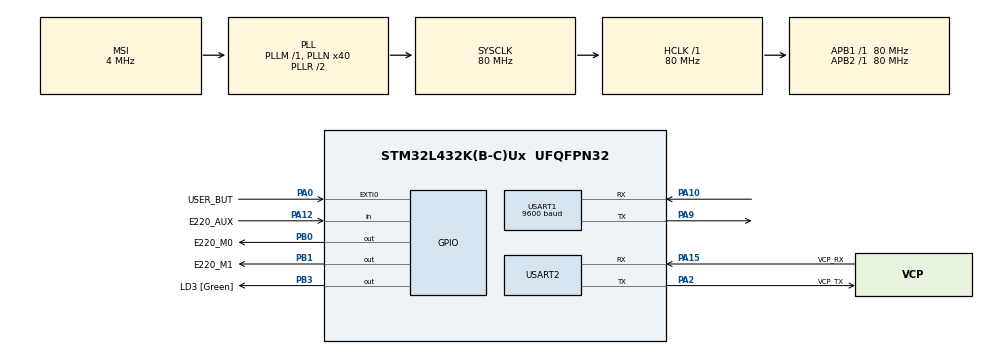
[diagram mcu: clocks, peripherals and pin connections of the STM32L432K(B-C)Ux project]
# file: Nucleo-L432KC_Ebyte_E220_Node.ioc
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Mcu.Family=STM32L4
Mcu.Name=STM32L432K(B-C)Ux
Mcu.Package=UFQFPN32
NVIC.EXTI0_IRQn=true\:0\:0\:false\:false\:true\:true\:true\:true
NVIC.PriorityGroup=NVIC_PRIORITYGROUP_4
PA0.GPIO_Label=USER_BUT
PA0.GPIO_ModeDefaultEXTI=GPIO_MODE_IT_FALLING
PA0.GPIO_PuPd=GPIO_PULLUP
PA0.Signal=GPXTI0
PA10.Mode=Asynchronous
PA10.Signal=USART1_RX
PA12.GPIO_Label=E220_AUX
PA12.GPIO_PuPd=GPIO_PULLDOWN
PA12.Signal=GPIO_Input
PA13\ (JTMS-SWDIO).GPIO_Label=SWDIO
PA13\ (JTMS-SWDIO).Mode=Serial_Wire
PA13\ (JTMS-SWDIO).Signal=SYS_JTMS-SWDIO
PA14\ (JTCK-SWCLK).GPIO_Label=SWCLK
PA14\ (JTCK-SWCLK).Mode=Serial_Wire
PA14\ (JTCK-SWCLK).Signal=SYS_JTCK-SWCLK
PA15\ (JTDI).GPIO_Label=VCP_RX
PA15\ (JTDI).Mode=Asynchronous
PA15\ (JTDI).Signal=USART2_RX
PA2.GPIO_Label=VCP_TX
PA2.Mode=Asynchronous
PA2.Signal=USART2_TX
PA9.Mode=Asynchronous
PA9.Signal=USART1_TX
PB0.GPIO_Label=E220_M0
PB0.GPIO_Speed=GPIO_SPEED_FREQ_VERY_HIGH
PB0.Signal=GPIO_Output
PB1.GPIO_Label=E220_M1
PB1.GPIO_Speed=GPIO_SPEED_FREQ_VERY_HIGH
PB1.Signal=GPIO_Output
PB3\ (JTDO-TRACESWO).GPIO_Label=LD3 [Green]
PB3\ (JTDO-TRACESWO).Signal=GPIO_Output
PC14-OSC32_IN\ (PC14).Mode=LSE-External-Oscillator
PC14-OSC32_IN\ (PC14).Signal=RCC_OSC32_IN
PC15-OSC32_OUT\ (PC15).Mode=LSE-External-Oscillator
PC15-OSC32_OUT\ (PC15).Signal=RCC_OSC32_OUT
ProjectManager.HeapSize=0x200
ProjectManager.StackSize=0x400
ProjectManager.TargetToolchain=STM32CubeIDE
RCC.AHBFreq_Value=80000000
RCC.APB1Freq_Value=80000000
RCC.APB1TimFreq_Value=80000000
RCC.APB2Freq_Value=80000000
RCC.APB2TimFreq_Value=80000000
RCC.CortexFreq_Value=80000000
RCC.HCLKFreq_Value=80000000
RCC.HSE_VALUE=8000000
RCC.HSI16_VALUE=16000000
RCC.HSI48_VALUE=48000000
RCC.HSI_VALUE=16000000
RCC.MSI_VALUE=4000000
RCC.PLLMUL=RCC_PLLMUL_4
RCC.PLLN=40
RCC.SYSCLKFreq_VALUE=80000000
RCC.SYSCLKSource=RCC_SYSCLKSOURCE_PLLCLK
RCC.VCOOutputFreq_Value=160000000
USART1.BaudRate=9600
USART1.VirtualMode-Asynchronous=VM_ASYNC
USART2.VirtualMode-Asynchronous=VM_ASYNC
board=NUCLEO-L432KC

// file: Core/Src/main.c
/* USER CODE BEGIN Header */
/**
  ******************************************************************************
  * @file           : main.c
  * @brief          : Main program body
  ******************************************************************************
  * @attention
  *
  * Copyright (c) 2023 STMicroelectronics.
  * All rights reserved.
  *
  * This software is licensed under terms that can be found in the LICENSE file
  * in the root directory of this software component.
  * If no LICENSE file comes with this software, it is provided AS-IS.
  *
  ******************************************************************************
  */
/* USER CODE END Header */
#include "main.h"

/* USER CODE BEGIN Includes */
#include <stdio.h>
#include <string.h>
#include <stdbool.h>
#include "e220_900t22d.h"

/* USER CODE END Includes */

/* USER CODE BEGIN PD */
#define E220_RF_BUFFER_SIZE 8U
/* USER CODE END PD */

UART_HandleTypeDef huart1;
UART_HandleTypeDef huart2;

/* USER CODE BEGIN PV */
/**> Maximum Payload (or Sub-Packet) is 200 bytes */
uint8_t E220_tx_Buffer[E220_RF_BUFFER_SIZE] = {0xA5, 0x09, 0x0A, 0x0B, 0x0C, 0x0D, 0x0E, 0x0F};
uint8_t E220_rx_Buffer[E220_RF_BUFFER_SIZE];

uint8_t step = 0;
bool butPressed = false;
/* USER CODE END PV */

void SystemClock_Config(void);
static void MX_GPIO_Init(void);
static void MX_USART2_UART_Init(void);
static void MX_USART1_UART_Init(void);
/* USER CODE BEGIN PFP */
#if __GNUC__
#define PUTCHAR_PROTOTYPE int __io_putchar(int ch)
#else
#define PUTCHAR_PROTOTYPE int fputc(int ch, FILE *f)
#endif // End __GNUC__

/* USER CODE END PFP */

int main(void)
{

  /* MCU Configuration--------------------------------------------------------*/

  /* Reset of all peripherals, Initializes the Flash interface and the Systick. */
  HAL_Init();

  /* Configure the system clock */
  SystemClock_Config();

  /* Initialize all configured peripherals */
  MX_GPIO_Init();
  MX_USART2_UART_Init();
  MX_USART1_UART_Init();
  /* USER CODE BEGIN 2 */
  if (E220_Module_Init() != E220_OK)
  {
#if (DEBUG_TRACE == 1)
    printf("\r\nE220 Initialization Fail\r\n");
#endif
  }
  else
  {
#if (DEBUG_TRACE == 1)
    printf("\r\nE220 Initialization Success\r\n");
#endif
  }

  /**> Initialize the Rx Buffer */
  memset(E220_rx_Buffer, 0x00, sizeof(E220_rx_Buffer));

  /* USER CODE END 2 */

  /* Infinite loop */
  /* USER CODE BEGIN WHILE */
  while (1)
  {
    if (butPressed)
    {
      if (E220_Wait_Packet_Send() == E220_OK)
      {
        if (step == 0)
        {
          E220_tx_Buffer[0] = 0xA5;
          E220_tx_Buffer[1] = 0x09;
          E220_tx_Buffer[2] = 0x0A;
          E220_tx_Buffer[3] = 0x0B;
          E220_tx_Buffer[4] = 0x0C;
          E220_tx_Buffer[5] = 0x0D;
          E220_tx_Buffer[6] = 0x0E;
          E220_tx_Buffer[7] = 0x0F;
#if (DEBUG_TRACE == 1)
          printf("Transmit Buffer Step0\r\n");
#endif
          E220_Transmit_Packet(E220_tx_Buffer, sizeof(E220_tx_Buffer));
          step = 1;
        }
        else if (step == 1)
        {
          E220_tx_Buffer[0] = 0x5A;
          E220_tx_Buffer[1] = 0x01;
          E220_tx_Buffer[2] = 0x02;
          E220_tx_Buffer[3] = 0x03;
          E220_tx_Buffer[4] = 0x04;
          E220_tx_Buffer[5] = 0x05;
          E220_tx_Buffer[6] = 0x06;
          E220_tx_Buffer[7] = 0x07;
#if (DEBUG_TRACE == 1)
          printf("Transmit Buffer Step1\r\n");
#endif
          E220_Transmit_Packet(E220_tx_Buffer, sizeof(E220_tx_Buffer));
          step = 0;
        }
      }

      HAL_GPIO_TogglePin(LD3_GPIO_Port, LD3_Pin);
      HAL_Delay(500);
    }
    /* USER CODE END WHILE */

  }
}

void SystemClock_Config(void)
{
  RCC_OscInitTypeDef RCC_OscInitStruct = {0};
  RCC_ClkInitTypeDef RCC_ClkInitStruct = {0};

  /** Configure the main internal regulator output voltage
  */
  if (HAL_PWREx_ControlVoltageScaling(PWR_REGULATOR_VOLTAGE_SCALE1) != HAL_OK)
  {
    Error_Handler();
  }

  /** Configure LSE Drive Capability
  */
  HAL_PWR_EnableBkUpAccess();
  __HAL_RCC_LSEDRIVE_CONFIG(RCC_LSEDRIVE_LOW);

  /** Initializes the RCC Oscillators according to the specified parameters
  * in the RCC_OscInitTypeDef structure.
  */
  RCC_OscInitStruct.OscillatorType = RCC_OSCILLATORTYPE_LSE|RCC_OSCILLATORTYPE_MSI;
  RCC_OscInitStruct.LSEState = RCC_LSE_ON;
  RCC_OscInitStruct.MSIState = RCC_MSI_ON;
  RCC_OscInitStruct.MSICalibrationValue = 0;
  RCC_OscInitStruct.MSIClockRange = RCC_MSIRANGE_6;
  RCC_OscInitStruct.PLL.PLLState = RCC_PLL_ON;
  RCC_OscInitStruct.PLL.PLLSource = RCC_PLLSOURCE_MSI;
  RCC_OscInitStruct.PLL.PLLM = 1;
  RCC_OscInitStruct.PLL.PLLN = 40;
  RCC_OscInitStruct.PLL.PLLP = RCC_PLLP_DIV7;
  RCC_OscInitStruct.PLL.PLLQ = RCC_PLLQ_DIV2;
  RCC_OscInitStruct.PLL.PLLR = RCC_PLLR_DIV2;
  if (HAL_RCC_OscConfig(&RCC_OscInitStruct) != HAL_OK)
  {
    Error_Handler();
  }

  /** Initializes the CPU, AHB and APB buses clocks
  */
  RCC_ClkInitStruct.ClockType = RCC_CLOCKTYPE_HCLK|RCC_CLOCKTYPE_SYSCLK
                              |RCC_CLOCKTYPE_PCLK1|RCC_CLOCKTYPE_PCLK2;
  RCC_ClkInitStruct.SYSCLKSource = RCC_SYSCLKSOURCE_PLLCLK;
  RCC_ClkInitStruct.AHBCLKDivider = RCC_SYSCLK_DIV1;
  RCC_ClkInitStruct.APB1CLKDivider = RCC_HCLK_DIV1;
  RCC_ClkInitStruct.APB2CLKDivider = RCC_HCLK_DIV1;

  if (HAL_RCC_ClockConfig(&RCC_ClkInitStruct, FLASH_LATENCY_4) != HAL_OK)
  {
    Error_Handler();
  }

  /** Enable MSI Auto calibration
  */
  HAL_RCCEx_EnableMSIPLLMode();
}

static void MX_USART1_UART_Init(void)
{

  huart1.Instance = USART1;
  huart1.Init.BaudRate = 9600;
  huart1.Init.WordLength = UART_WORDLENGTH_8B;
  huart1.Init.StopBits = UART_STOPBITS_1;
  huart1.Init.Parity = UART_PARITY_NONE;
  huart1.Init.Mode = UART_MODE_TX_RX;
  huart1.Init.HwFlowCtl = UART_HWCONTROL_NONE;
  huart1.Init.OverSampling = UART_OVERSAMPLING_16;
  huart1.Init.OneBitSampling = UART_ONE_BIT_SAMPLE_DISABLE;
  huart1.AdvancedInit.AdvFeatureInit = UART_ADVFEATURE_NO_INIT;
  if (HAL_UART_Init(&huart1) != HAL_OK)
  {
    Error_Handler();
  }

}

static void MX_USART2_UART_Init(void)
{

  huart2.Instance = USART2;
  huart2.Init.BaudRate = 115200;
  huart2.Init.WordLength = UART_WORDLENGTH_8B;
  huart2.Init.StopBits = UART_STOPBITS_1;
  huart2.Init.Parity = UART_PARITY_NONE;
  huart2.Init.Mode = UART_MODE_TX_RX;
  huart2.Init.HwFlowCtl = UART_HWCONTROL_NONE;
  huart2.Init.OverSampling = UART_OVERSAMPLING_16;
  huart2.Init.OneBitSampling = UART_ONE_BIT_SAMPLE_DISABLE;
  huart2.AdvancedInit.AdvFeatureInit = UART_ADVFEATURE_NO_INIT;
  if (HAL_UART_Init(&huart2) != HAL_OK)
  {
    Error_Handler();
  }

}

static void MX_GPIO_Init(void)
{
  GPIO_InitTypeDef GPIO_InitStruct = {0};

  /* GPIO Ports Clock Enable */
  __HAL_RCC_GPIOC_CLK_ENABLE();
  __HAL_RCC_GPIOA_CLK_ENABLE();
  __HAL_RCC_GPIOB_CLK_ENABLE();

  /*Configure GPIO pin Output Level */
  HAL_GPIO_WritePin(GPIOB, E220_M0_Pin|E220_M1_Pin|LD3_Pin, GPIO_PIN_RESET);

  /*Configure GPIO pin : USER_BUT_Pin */
  GPIO_InitStruct.Pin = USER_BUT_Pin;
  GPIO_InitStruct.Mode = GPIO_MODE_IT_FALLING;
  GPIO_InitStruct.Pull = GPIO_PULLUP;
  HAL_GPIO_Init(USER_BUT_GPIO_Port, &GPIO_InitStruct);

  /*Configure GPIO pins : E220_M0_Pin E220_M1_Pin */
  GPIO_InitStruct.Pin = E220_M0_Pin|E220_M1_Pin;
  GPIO_InitStruct.Mode = GPIO_MODE_OUTPUT_PP;
  GPIO_InitStruct.Pull = GPIO_NOPULL;
  GPIO_InitStruct.Speed = GPIO_SPEED_FREQ_VERY_HIGH;
  HAL_GPIO_Init(GPIOB, &GPIO_InitStruct);

  /*Configure GPIO pin : E220_AUX_Pin */
  GPIO_InitStruct.Pin = E220_AUX_Pin;
  GPIO_InitStruct.Mode = GPIO_MODE_INPUT;
  GPIO_InitStruct.Pull = GPIO_PULLDOWN;
  HAL_GPIO_Init(E220_AUX_GPIO_Port, &GPIO_InitStruct);

  /*Configure GPIO pin : LD3_Pin */
  GPIO_InitStruct.Pin = LD3_Pin;
  GPIO_InitStruct.Mode = GPIO_MODE_OUTPUT_PP;
  GPIO_InitStruct.Pull = GPIO_NOPULL;
  GPIO_InitStruct.Speed = GPIO_SPEED_FREQ_LOW;
  HAL_GPIO_Init(LD3_GPIO_Port, &GPIO_InitStruct);

  /* EXTI interrupt init*/
  HAL_NVIC_SetPriority(EXTI0_IRQn, 0, 0);
  HAL_NVIC_EnableIRQ(EXTI0_IRQn);

}

/* USER CODE BEGIN 4 */

/**
  * @brief  Putchar function redirect printf over USART1
  * @param  Ascii char to print
  * @retval None
  */
PUTCHAR_PROTOTYPE
{
  HAL_UART_Transmit(&huart2, (uint8_t *)&ch, 1, HAL_MAX_DELAY);
  return ch;
}

/**
  * @brief  EXTI line detection callback.
  * @param  GPIO_Pin Specifies the port pin connected to corresponding EXTI line.
  * @retval None
  */
void HAL_GPIO_EXTI_Callback(uint16_t GPIO_Pin)
{
 if (GPIO_Pin == USER_BUT_Pin)
 {
   butPressed = !butPressed;
 }
}

/* USER CODE END 4 */

void Error_Handler(void)
{
  __disable_irq();
  while (1)
  {
  }
}
